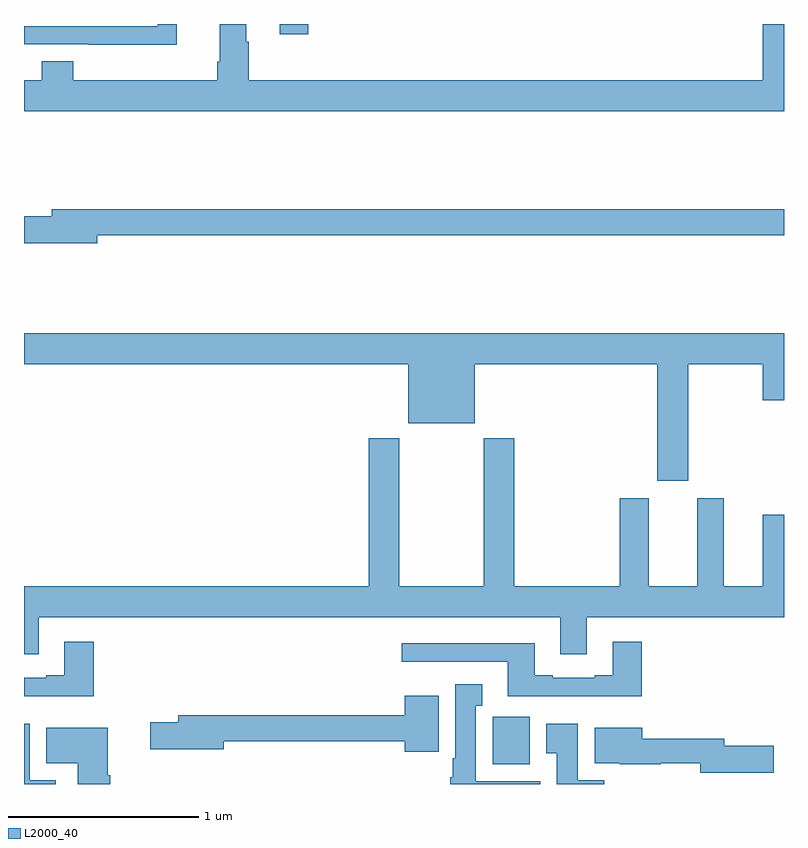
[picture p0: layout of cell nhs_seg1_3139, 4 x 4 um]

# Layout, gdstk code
import gdstk
lib = gdstk.Library(unit=1e-6, precision=1e-09)
def R(c, l, rs):  # rectangles x0, y0, x1, y1
    for r in rs: c.add(gdstk.rectangle(r[:2], r[2:], *l))
def P(c, l, *ps):  # polygons
    for p in ps: c.add(gdstk.Polygon(p, *l))
L2000_40 = (2000, 40)

nhs_seg1_3139 = lib.new_cell('nhs_seg1_3139')
R(nhs_seg1_3139, L2000_40, [(283.467,540.302,283.663,540.552), (282.347,544.146,282.496,544.199)])
P(nhs_seg1_3139, L2000_40, [(281.093,544.003),(281.093,543.904),(281,543.904),(281,543.74),(285,543.74),(285,544.199),(284.888,544.199),(284.888,543.904),(282.182,543.904),(282.182,544.106),(282.169,544.106),(282.169,544.199),(282.029,544.199),(282.029,544),(282.017,544),(282.017,543.904),(281.258,543.904),(281.258,544.003)],
  [(281.805,544.199),(281.705,544.199),(281.705,544.188),(281,544.188),(281,544.092),(281.341,544.092),(281.341,544.091),(281.805,544.091)],
  [(281.386,543.088),(285,543.088),(285,543.224),(281.147,543.224),(281.147,543.188),(281,543.188),(281,543.046),(281.386,543.046)],
  [(284.497,542.408),(284.888,542.408),(284.888,542.22),(285,542.22),(285,542.572),(281,542.572),(281,542.408),(283.022,542.408),(283.022,542.099),(283.372,542.099),(283.372,542.408),(284.333,542.408),(284.333,541.794),(284.497,541.794)],
  [(281.077,541.076),(283.823,541.076),(283.823,540.882),(283.963,540.882),(283.963,541.076),(285,541.076),(285,541.615),(284.888,541.615),(284.888,541.24),(284.683,541.24),(284.683,541.702),(284.543,541.702),(284.543,541.24),(284.287,541.24),(284.287,541.702),(284.135,541.702),(284.135,541.24),(283.58,541.24),(283.58,542.02),(283.42,542.02),(283.42,541.24),(282.975,541.24),(282.975,542.02),(282.815,542.02),(282.815,541.24),(281,541.24),(281,540.882),(281.077,540.882)],
  [(281.366,540.949),(281.213,540.949),(281.213,540.772),(281.117,540.772),(281.117,540.759),(281,540.759),(281,540.662),(281.366,540.662)],
  [(284.252,540.949),(284.099,540.949),(284.099,540.772),(284.003,540.772),(284.003,540.759),(283.783,540.759),(283.783,540.772),(283.687,540.772),(283.687,540.94),(282.987,540.94),(282.987,540.843),(283.547,540.843),(283.547,540.662),(284.252,540.662)],
  [(283.717,540.214),(283.378,540.214),(283.378,540.611),(283.411,540.611),(283.411,540.724),(283.271,540.724),(283.271,540.334),(283.256,540.334),(283.256,540.234),(283.244,540.234),(283.244,540.199),(283.717,540.199)],
  [(283.183,540.664),(283.004,540.664),(283.004,540.56),(281.813,540.56),(281.813,540.524),(281.664,540.524),(281.664,540.382),(282.052,540.382),(282.052,540.424),(283.004,540.424),(283.004,540.368),(283.183,540.368)],
  [(284.054,540.22),(283.915,540.22),(283.915,540.517),(283.748,540.517),(283.748,540.361),(283.805,540.361),(283.805,540.199),(284.054,540.199)],
  [(281.168,540.22),(281.029,540.22),(281.029,540.517),(281,540.517),(281,540.199),(281.168,540.199)],
  [(284.947,540.401),(284.686,540.401),(284.686,540.437),(284.254,540.437),(284.254,540.496),(284.003,540.496),(284.003,540.308),(284.136,540.308),(284.136,540.302),(284.35,540.302),(284.35,540.309),(284.558,540.309),(284.558,540.259),(284.947,540.259)],
  [(281.453,540.244),(281.44,540.244),(281.44,540.496),(281.117,540.496),(281.117,540.308),(281.282,540.308),(281.282,540.199),(281.453,540.199)])

lib.write_gds('nhs_seg1_3139.gds')
